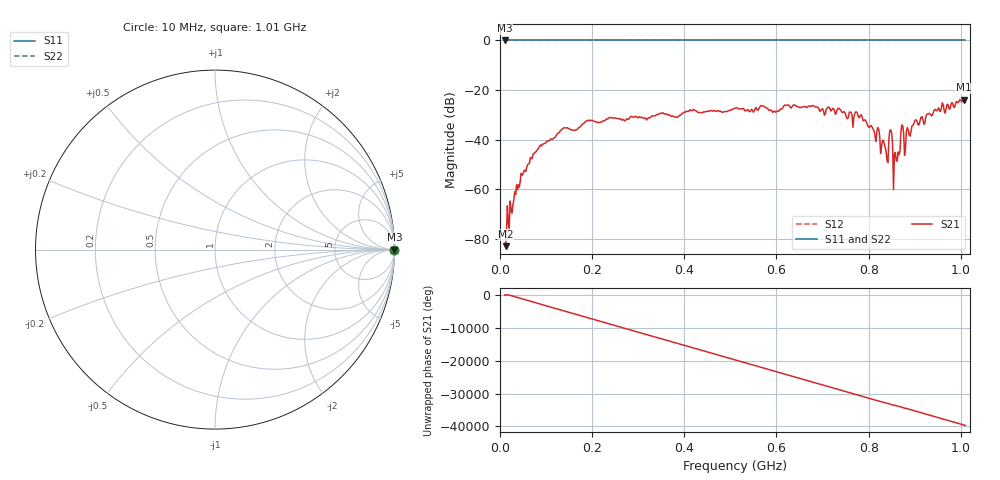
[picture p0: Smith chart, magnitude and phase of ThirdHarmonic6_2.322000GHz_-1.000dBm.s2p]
! 8/17/2025 3:18:11 AM
! C:\ANRITSUVNA\TEMP\TEMP.S2P
! CHANNEL.1
! TR.MEASUREMENT
! RAW.DATA
! RF.CORRECTION.OFF
! AVERAGING.OFF
! IF.BANDWIDTH: 5KHZ
! SWEEPTYPE:  FREQ.SWEEP(Linear)
! Reference Plane Port Info
! PORT:  PORT1  PORT2
! DISTANCE:  0  m  0  m
! TIME:  0  s  0  s
! PHASE.OFFSET:  0  deg.  0  deg.
! LOSS:  0  dB  0  dB
! REF.LOSS:  0  dB  0  dB
! REF.FREQ:  0  Hz  0  Hz
! Power Info
! POWER:  -20  dBm  -20  dBm
! EFF.POWER:  -20  dBm  -20  dBm
! SOURCE.ATTEN:  0  dB  0  dB
! TEST.ATTEN:  0  dB  0  dB
# GHZ S RI R 50.0
! FREQ.GHZ  S11RE  S11IM  S21RE  S21IM  S12RE  S12IM  S22RE  S22IM
!; PortSelection: Port_12
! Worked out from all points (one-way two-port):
!   501 points, 10 MHz to 1.01 GHz, reference 50 ohm
!   highest |S21| = -23.89 dB at 1.006 GHz (marker M1); lowest = -83.0 dB at 12 MHz (marker M2)
!   lowest |S11| = 0.0 dB at 10 MHz (marker M3)
!   |S11| at or under -10 dB: nowhere
!   |S22| runs from 0.0 to 0.0 dB; largest |S21 - S12| = 1.1
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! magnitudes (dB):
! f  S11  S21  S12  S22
! 10 MHz  0.0  -81.9  0.0  0.0
! 12 MHz  0.0  -83.0  0.0  0.0
! 36 MHz  0.0  -58.2  0.0  0.0
! 76 MHz  0.0  -45.2  0.0  0.0
! 136 MHz  0.0  -35.7  0.0  0.0
! 178 MHz  0.0  -33.8  0.0  0.0
! 344 MHz  0.0  -29.8  0.0  0.0
! 510 MHz  0.0  -27.4  0.0  0.0
! 678 MHz  0.0  -26.3  0.0  0.0
! 774 MHz  0.0  -28.9  0.0  0.0
! 820 MHz  0.0  -35.1  0.0  0.0
! 838 MHz  0.0  -44.9  0.0  0.0
! 844 MHz  0.0  -39.6  0.0  0.0
! 848 MHz  0.0  -36.1  0.0  0.0
! 858 MHz  0.0  -45.2  0.0  0.0
! 860 MHz  0.0  -48.4  0.0  0.0
! 864 MHz  0.0  -44.9  0.0  0.0
! 872 MHz  0.0  -34.1  0.0  0.0
! 880 MHz  0.0  -43.5  0.0  0.0
! 900 MHz  0.0  -32.5  0.0  0.0
! 1.006 GHz  0.0  -23.9  0.0  0.0
! 1.01 GHz  0.0  -24.9  0.0  0.0
